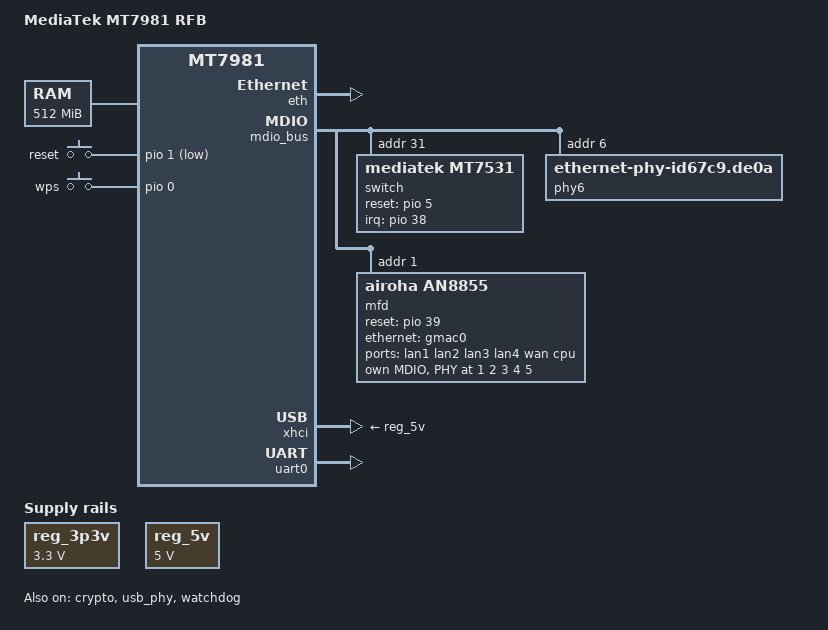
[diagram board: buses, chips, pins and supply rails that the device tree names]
// SPDX-License-Identifier: (GPL-2.0 OR MIT)
/*
 * Copyright (C) 2022 MediaTek Inc.
 * Author: Sam.Shih <sam.shih@mediatek.com>
 */

/dts-v1/;
#include "mt7981.dtsi"

/ {
	model = "MediaTek MT7981 RFB";
	compatible = "mediatek,mt7981-rfb", "mediatek,mt7981";

	aliases {
		serial0 = &uart0;
	};

	chosen: chosen {
		stdout-path = "serial0:115200n8";
		bootargs-append = " root=/dev/fit0 rootwait";
	};

	memory {
		reg = <0 0x40000000 0 0x20000000>;
	};

	reg_3p3v: regulator-3p3v {
		compatible = "regulator-fixed";
		regulator-name = "fixed-3.3V";
		regulator-min-microvolt = <3300000>;
		regulator-max-microvolt = <3300000>;
		regulator-boot-on;
		regulator-always-on;
	};

	reg_5v: regulator-5v {
		compatible = "regulator-fixed";
		regulator-name = "fixed-5V";
		regulator-min-microvolt = <5000000>;
		regulator-max-microvolt = <5000000>;
		regulator-boot-on;
		regulator-always-on;
	};

	gpio-keys {
		compatible = "gpio-keys";
		reset {
			label = "reset";
			linux,code = <KEY_RESTART>;
			gpios = <&pio 1 GPIO_ACTIVE_LOW>;
		};
		wps {
			label = "wps";
			linux,code = <KEY_WPS_BUTTON>;
			gpios = <&pio 0 GPIO_ACTIVE_HIGH>;
		};
	};
};

&eth {
	status = "okay";

	gmac0: mac@0 {
		compatible = "mediatek,eth-mac";
		reg = <0>;
		phy-mode = "2500base-x";

		fixed-link {
			speed = <2500>;
			full-duplex;
			pause;
		};
	};

	gmac1: mac@1 {
		compatible = "mediatek,eth-mac";
		reg = <1>;
		phy-mode = "2500base-x";
		phy-handle = <&phy6>;

		fixed-link {
			speed = <2500>;
			full-duplex;
			pause;
		};
	};
};

&mdio_bus {
	switch: switch@1f {
		compatible = "mediatek,mt7531";
		reg = <31>;
		interrupt-controller;
		#interrupt-cells = <1>;
		interrupt-parent = <&pio>;
		interrupts = <38 IRQ_TYPE_LEVEL_HIGH>;
		reset-gpios = <&pio 5 GPIO_ACTIVE_HIGH>;
	};

	phy6: phy@6 {
		compatible = "ethernet-phy-id67c9.de0a";
		reg = <6>;
	};

	mfd@1 {
		compatible = "airoha,an8855";
		reset-gpios = <&pio 39 0>;
		reg = <1>;

		nvmem {
			compatible = "airoha,an8855-efuse";

			#nvmem-cell-cells = <0>;

			nvmem-layout {
				compatible = "fixed-layout";
				#address-cells = <1>;
				#size-cells = <1>;

				shift_sel_port0_tx_a: shift-sel-port0-tx-a@c {
					reg = <0xc 0x4>;
				};

				shift_sel_port0_tx_b: shift-sel-port0-tx-b@10 {
					reg = <0x10 0x4>;
				};

				shift_sel_port0_tx_c: shift-sel-port0-tx-c@14 {
					reg = <0x14 0x4>;
				};

				shift_sel_port0_tx_d: shift-sel-port0-tx-d@18 {
					reg = <0x18 0x4>;
				};

				shift_sel_port1_tx_a: shift-sel-port1-tx-a@1c {
					reg = <0x1c 0x4>;
				};

				shift_sel_port1_tx_b: shift-sel-port1-tx-b@20 {
					reg = <0x20 0x4>;
				};

				shift_sel_port1_tx_c: shift-sel-port1-tx-c@24 {
					reg = <0x24 0x4>;
				};

				shift_sel_port1_tx_d: shift-sel-port1-tx-d@28 {
					reg = <0x28 0x4>;
				};

				shift_sel_port2_tx_a: shift-sel-port2-tx-a@2c {
					reg = <0x2c 0x4>;
				};

				shift_sel_port2_tx_b: shift-sel-port2-tx-b@30 {
					reg = <0x30 0x4>;
				};

				shift_sel_port2_tx_c: shift-sel-port2-tx-c@34 {
					reg = <0x34 0x4>;
				};

				shift_sel_port2_tx_d: shift-sel-port2-tx-d@38 {
					reg = <0x38 0x4>;
				};

				shift_sel_port3_tx_a: shift-sel-port3-tx-a@4c {
					reg = <0x4c 0x4>;
				};

				shift_sel_port3_tx_b: shift-sel-port3-tx-b@50 {
					reg = <0x50 0x4>;
				};

				shift_sel_port3_tx_c: shift-sel-port3-tx-c@54 {
					reg = <0x54 0x4>;
				};

				shift_sel_port3_tx_d: shift-sel-port3-tx-d@58 {
					reg = <0x58 0x4>;
				};

				shift_sel_port4_tx_a: shift-sel-port4-tx-a@5c {
					reg = <0x5c 0x4>;
				};

				shift_sel_port4_tx_b: shift-sel-port4-tx-b@60 {
					reg = <0x60 0x4>;
				};

				shift_sel_port4_tx_c: shift-sel-port4-tx-c@64 {
					reg = <0x64 0x4>;
				};

				shift_sel_port4_tx_d: shift-sel-port4-tx-d@68 {
					reg = <0x68 0x4>;
				};
			};
		};

		ethernet-switch {
			compatible = "airoha,an8855-switch";

			ports {
				#address-cells = <1>;
				#size-cells = <0>;

				port@0 {
					reg = <0>;
					label = "lan1";
					phy-mode = "internal";
					phy-handle = <&internal_phy1>;
				};

				port@1 {
					reg = <1>;
					label = "lan2";
					phy-mode = "internal";
					phy-handle = <&internal_phy2>;
				};

				port@2 {
					reg = <2>;
					label = "lan3";
					phy-mode = "internal";
					phy-handle = <&internal_phy3>;
				};

				port@3 {
					reg = <3>;
					label = "lan4";
					phy-mode = "internal";
					phy-handle = <&internal_phy4>;
				};

				port@4 {
					reg = <4>;
					label = "wan";
					phy-mode = "internal";
					phy-handle = <&internal_phy5>;
				};

				port@5 {
					reg = <5>;
					label = "cpu";
					ethernet = <&gmac0>;
					phy-mode = "2500base-x";

					fixed-link {
						speed = <2500>;
						full-duplex;
						pause;
					};
				};
			};
		};

		mdio {
			compatible = "airoha,an8855-mdio";
			#address-cells = <1>;
			#size-cells = <0>;

			internal_phy1: phy@1 {
				reg = <1>;
				airoha,ext-surge;

				nvmem-cells = <&shift_sel_port0_tx_a>,
						<&shift_sel_port0_tx_b>,
						<&shift_sel_port0_tx_c>,
						<&shift_sel_port0_tx_d>;
				nvmem-cell-names = "tx_a", "tx_b", "tx_c", "tx_d";
			};

			internal_phy2: phy@2 {
				reg = <2>;
				airoha,ext-surge;

				nvmem-cells = <&shift_sel_port1_tx_a>,
						<&shift_sel_port1_tx_b>,
						<&shift_sel_port1_tx_c>,
						<&shift_sel_port1_tx_d>;
				nvmem-cell-names = "tx_a", "tx_b", "tx_c", "tx_d";
			};

			internal_phy3: phy@3 {
				reg = <3>;
				airoha,ext-surge;

				nvmem-cells = <&shift_sel_port2_tx_a>,
						<&shift_sel_port2_tx_b>,
						<&shift_sel_port2_tx_c>,
						<&shift_sel_port2_tx_d>;
				nvmem-cell-names = "tx_a", "tx_b", "tx_c", "tx_d";
			};

			internal_phy4: phy@4 {
				reg = <4>;
				airoha,ext-surge;

				nvmem-cells = <&shift_sel_port3_tx_a>,
						<&shift_sel_port3_tx_b>,
						<&shift_sel_port3_tx_c>,
						<&shift_sel_port3_tx_d>;
				nvmem-cell-names = "tx_a", "tx_b", "tx_c", "tx_d";
			};

			internal_phy5: phy@5 {
				reg = <5>;
				airoha,ext-surge;

				nvmem-cells = <&shift_sel_port4_tx_a>,
						<&shift_sel_port4_tx_b>,
						<&shift_sel_port4_tx_c>,
						<&shift_sel_port4_tx_d>;
				nvmem-cell-names = "tx_a", "tx_b", "tx_c", "tx_d";
			};
		};
	};
};

&crypto {
	status = "okay";
};

&pio {
	spi0_flash_pins: spi0-pins {
		mux {
			function = "spi";
			groups = "spi0", "spi0_wp_hold";
		};
		conf-pu {
			pins = "SPI0_CS", "SPI0_HOLD", "SPI0_WP";
			drive-strength = <MTK_DRIVE_8mA>;
			bias-pull-up = <MTK_PUPD_SET_R1R0_11>;
		};
		conf-pd {
			pins = "SPI0_CLK", "SPI0_MOSI", "SPI0_MISO";
			drive-strength = <MTK_DRIVE_8mA>;
			bias-pull-down = <MTK_PUPD_SET_R1R0_11>;
		};
	};

};

&spi0 {
	pinctrl-names = "default";
	pinctrl-0 = <&spi0_flash_pins>;
	cs-gpios = <0>, <0>;
	#address-cells = <1>;
	#size-cells = <0>;
	status = "disabled";
};

// &switch {
// 	ports {
// 		#address-cells = <1>;
// 		#size-cells = <0>;

// 		port@0 {
// 			reg = <0>;
// 			label = "lan1";
// 		};

// 		port@1 {
// 			reg = <1>;
// 			label = "lan2";
// 		};

// 		port@2 {
// 			reg = <2>;
// 			label = "lan3";
// 		};

// 		port@3 {
// 			reg = <3>;
// 			label = "lan4";
// 		};

// 		sw_p5: port@5 {
// 			reg = <5>;
// 			label = "lan5";
// 			status = "disabled";
// 		};

// 		port@6 {
// 			reg = <6>;
// 			ethernet = <&gmac0>;
// 			phy-mode = "2500base-x";

// 			fixed-link {
// 				speed = <2500>;
// 				full-duplex;
// 				pause;
// 			};
// 		};
// 	};
// };

&xhci {
	vusb33-supply = <&reg_3p3v>;
	vbus-supply = <&reg_5v>;
	status = "okay";
};

&uart0 {
	status = "okay";
};

&usb_phy {
	status = "okay";
};

&watchdog {
	status = "okay";
};
